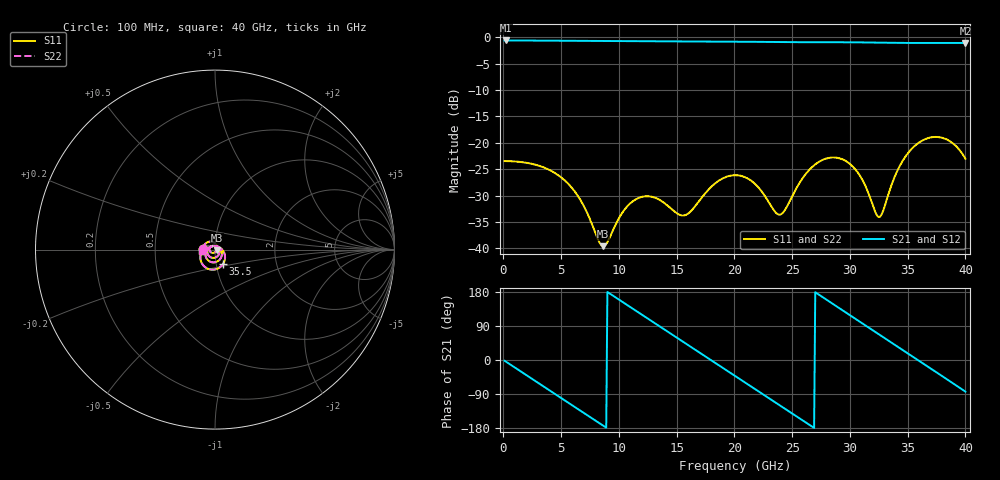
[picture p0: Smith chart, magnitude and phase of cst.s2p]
! thru_s8x4_L3: 2×thru, L3, 8 mm
! stackup: 8-layer 1.6 mm FR-4 without the L4 plane
! ports: 1, 2
! CST Studio Suite 2025.5 Release from 2025-05-30, time domain (FIT, hexahedral, PBA), 87780 mesh cells, 20 s
! mesh: {'lpw': 20, 'lpb': 20, 'minstep': 0.0, 'ratio': 20}; ports: port 1 (face); port 2 (face)
! interpolated from CST's 1001 samples to the case grid
# Hz S RI R 50
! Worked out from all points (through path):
!   400 points, 100 MHz to 40 GHz, reference 50 ohm
!   highest |S21| = -0.60 dB at 200 MHz (marker M1); lowest = -1.1 dB at 40 GHz (marker M2)
!   group delay of S21, straight-line fit = 55.7 ps
!   lowest |S11| = -39.6 dB at 8.6 GHz (marker M3), VSWR 1.02, Z = 51 - j0.439 ohm
!   |S11| at or under -10 dB: start of sweep to end of sweep
!   |S22| runs from -39.6 to -18.9 dB; largest |S21 - S12| = 4.5e-07
!   S11 on the Smith chart (normalised r, x): 100 MHz: 0.87, +0.00; 35.5 GHz: 1.08, -0.17; 40 GHz: 0.87, -0.01
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1e8  -0.0672 0.00134  0.9322 -0.0328  0.9322 -0.0328  -0.0672 0.00134
2e8  -0.0672 0.00269  0.9305 -0.0656  0.9305 -0.0656  -0.0672 0.00269
1.8e9  -0.0609 0.0236  0.7511 -0.551  0.7511 -0.551  -0.0609 0.0236
3.7e9  -0.0391 0.0418  0.2491 -0.8943  0.2491 -0.8943  -0.0391 0.0418
6.8e9  0.00801 0.026  -0.6703 -0.6364  -0.6703 -0.6364  0.00801 0.026
8.6e9  0.0096 -0.0043  -0.9152 -0.1198  -0.9152 -0.1198  0.00959 -0.0043
1.07e10  -0.0179 -0.0173  -0.7571 0.5239  -0.7571 0.5239  -0.0179 -0.0173
1.34e10  -0.0244 0.0163  -0.0195 0.9153  -0.0195 0.9153  -0.0244 0.0163
1.55e10  0.0127 0.0161  0.5954 0.691  0.5954 0.691  0.0127 0.0161
1.7e10  0.0251 -0.0139  0.86 0.3005  0.86 0.3005  0.0251 -0.0139
1.85e10  0.00625 -0.0423  0.8941 -0.1705  0.8941 -0.1705  0.00626 -0.0423
2.01e10  -0.0297 -0.0395  0.6652 -0.619  0.6652 -0.619  -0.0297 -0.0395
2.32e10  -0.0141 0.0206  -0.2361 -0.8708  -0.2361 -0.8708  -0.0141 0.0206
2.42e10  0.0136 0.017  -0.5187 -0.7357  -0.5187 -0.7357  0.0136 0.017
2.67e10  0.0304 -0.0501  -0.8946 -0.075  -0.8946 -0.075  0.0304 -0.0501
2.84e10  -0.0173 -0.0705  -0.7822 0.4404  -0.7822 0.4404  -0.0174 -0.0705
3.04e10  -0.0527 -0.0225  -0.3097 0.8404  -0.3097 0.8404  -0.0527 -0.0225
3.25e10  0.000867 0.0198  0.3356 0.8242  0.3356 0.8242  0.000875 0.0198
3.34e10  0.0338 0.00614  0.5732 0.6771  0.5732 0.6771  0.0338 0.00616
3.55e10  0.0459 -0.0787  0.8752 0.1176  0.8752 0.1176  0.0459 -0.0787
3.76e10  -0.0416 -0.1057  0.7271 -0.5019  0.7271 -0.5019  -0.0416 -0.1057
4e10  -0.0705 -0.00684  0.1013 -0.8766  0.1013 -0.8766  -0.0705 -0.00688
